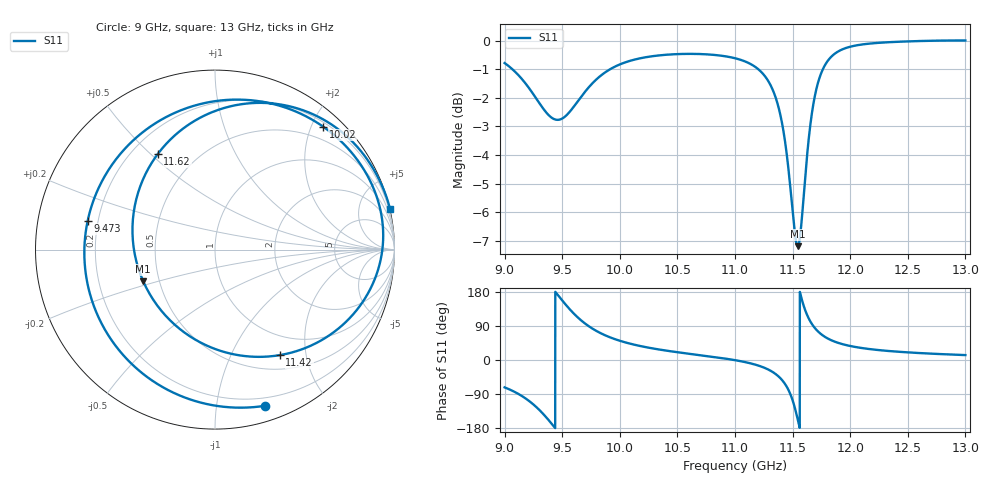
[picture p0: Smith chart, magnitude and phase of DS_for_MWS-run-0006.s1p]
! TOUCHSTONE file generated by CST DESIGN STUDIO
! Date and time: Tue Feb  4 16:19:27 2025
! Project name: C:\Work\MatlabApps\UnitCellOptimizationMatlab\CST\unitcell.cst
! Tree item: Tasks\Sweep1\SPara1\S-Parameters
! Header version: 2024
! Port assignment regex: !\s*Touchstone port\s*([0-9]+)\s*=\s*(CST MWS port|CST DES external port|CST DES block port)\s*(.+)\s* \(\"(.*)\"\)(\s*mode\s*([0-9]+))?.*
! Touchstone port assignment:
! Touchstone port 1 = CST DES external port 1 ("")
# GHz S MA R 50
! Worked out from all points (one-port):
!   4001 points, 9 GHz to 13 GHz, reference 50 ohm
!   lowest |S11| = -7.2 dB at 11.54 GHz (marker M1), VSWR 2.55, Z = 20.3 - j8.92 ohm
!   |S11| at or under -10 dB: nowhere
!   S11 on the Smith chart (normalised r, x): 9 GHz: 0.13, -1.36; 9.473 GHz: 0.16, +0.11; 10.02 GHz: 0.27, +2.19; 11.42 GHz: 0.70, -1.56; 11.62 GHz: 0.30, +0.53; 13 GHz: -0.02, +8.80
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9  0.9137 -72.2
9.142  0.8605 -93.5
9.251  0.8051 -117.6
9.376  0.7431 -156.4
9.473  0.7273 167.3
9.5  0.7307 157.1
9.599  0.7658 123.0
9.698  0.8139 96.3
9.844  0.8714 69.2
10  0.9086 50.8
10.024  0.9126 48.5
10.229  0.9356 33.7
10.5  0.9471 20.5
11  0.9316 -0.4
11.274  0.8588 -23.0
11.356  0.7917 -37.8
11.423  0.69 -58.4
11.465  0.5937 -79.6
11.5  0.5026 -106.3
11.544  0.4372 -156.0
11.582  0.4929 157.5
11.623  0.621 120.8
11.689  0.7923 86.0
11.786  0.9096 60.1
11.878  0.9525 47.0
12  0.9757 37.0
12.5  0.9969 20.1
13  1.001 13.0
